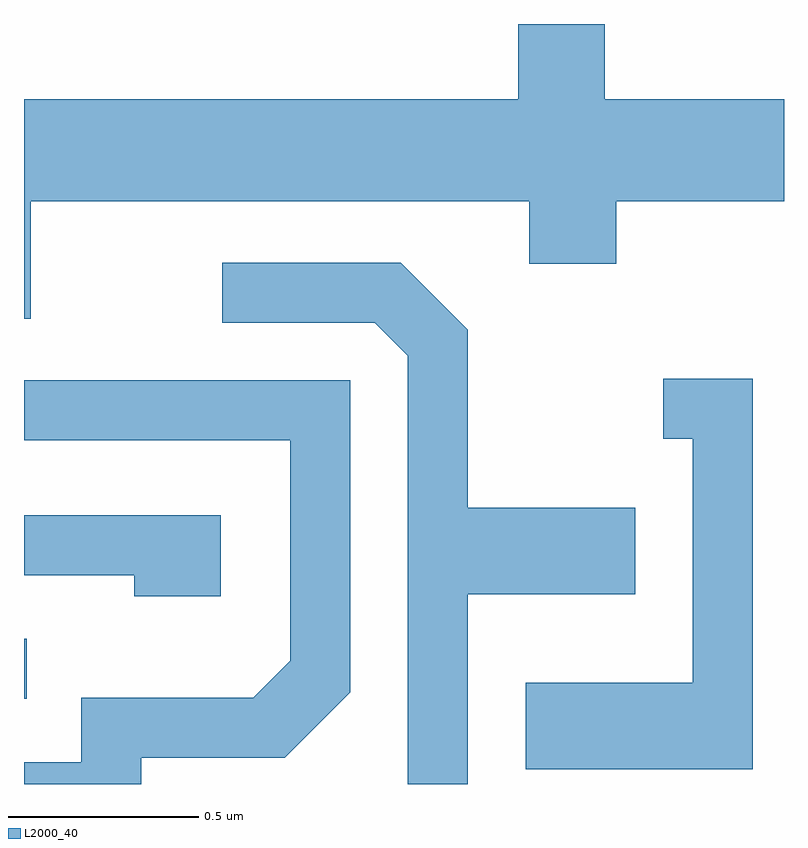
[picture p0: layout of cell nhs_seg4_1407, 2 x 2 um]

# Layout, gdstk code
import gdstk
lib = gdstk.Library(unit=1e-6, precision=1e-09)
def R(c, l, rs):  # rectangles x0, y0, x1, y1
    for r in rs: c.add(gdstk.rectangle(r[:2], r[2:], *l))
def P(c, l, *ps):  # polygons
    for p in ps: c.add(gdstk.Polygon(p, *l))
L2000_40 = (2000, 40)

nhs_seg4_1407 = lib.new_cell('nhs_seg4_1407')
R(nhs_seg4_1407, L2000_40, [(195.611,1291.206,195.618,1291.364)])
P(nhs_seg4_1407, L2000_40, [(195.629,1292.516),(196.941,1292.516),(196.941,1292.351),(197.169,1292.351),(197.169,1292.516),(197.611,1292.516),(197.611,1292.784),(197.139,1292.784),(197.139,1292.982),(196.911,1292.982),(196.911,1292.784),(195.611,1292.784),(195.611,1292.206),(195.629,1292.206)],
  [(196.779,1291.481),(197.219,1291.481),(197.219,1291.709),(196.779,1291.709),(196.779,1292.177),(196.602,1292.354),(196.133,1292.354),(196.133,1292.196),(196.534,1292.196),(196.621,1292.109),(196.621,1290.982),(196.779,1290.982)],
  [(197.529,1292.049),(197.293,1292.049),(197.293,1291.891),(197.371,1291.891),(197.371,1291.249),(196.931,1291.249),(196.931,1291.021),(197.529,1291.021)],
  [(195.919,1291.051),(196.297,1291.051),(196.469,1291.224),(196.469,1292.044),(195.611,1292.044),(195.611,1291.886),(196.311,1291.886),(196.311,1291.307),(196.214,1291.209),(195.761,1291.209),(195.761,1291.039),(195.611,1291.039),(195.611,1290.982),(195.919,1290.982)],
  [(196.129,1291.689),(195.611,1291.689),(195.611,1291.531),(195.901,1291.531),(195.901,1291.476),(196.129,1291.476)])

lib.write_gds('nhs_seg4_1407.gds')
